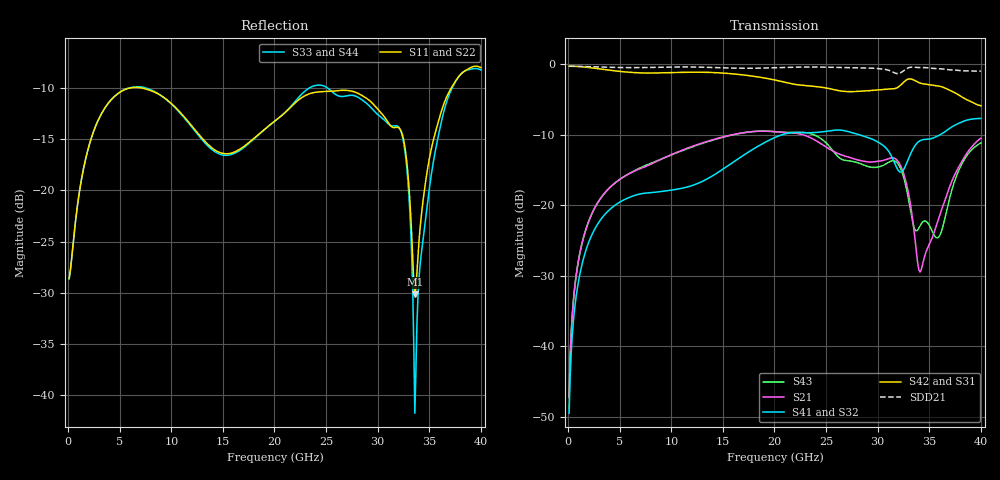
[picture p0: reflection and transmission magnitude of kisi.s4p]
! P_ts6_finger_diff: gold-finger pair 0.7 × 2.1 mm, pitch 1 mm, between GND fingers (gap 0.3 mm), every plane cut back
! stackup: ThunderScope Rev5.3 6-layer (FR408HR / FR-4, from the board file)
! ports: 1 P near, 2 N near, 3 P far, 4 N far
! kisi-fdtd, conformal, dfine 0.035 mm, 1486968 cells
# Hz S RI R 50
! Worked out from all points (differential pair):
!   400 points, 100 MHz to 40 GHz, reference 50 ohm
!   strongest paths, dB at 100 MHz, 10.1 GHz, 20.1 GHz, 30.1 GHz, 40 GHz:
!     S42: -0.3, -1.2, -2.3, -3.7, -5.9
!     S31: -0.3, -1.2, -2.3, -3.7, -5.9
!     S41: -49.5, -17.9, -10.4, -11.1, -7.7
!     S32: -49.5, -17.9, -10.4, -11.1, -7.7
!     S21: -47.2, -12.8, -9.6, -13.8, -10.5
!     S43: -47.2, -12.8, -9.6, -14.6, -11.2
!   taken as a pair (ports 2,1 in; 4,3 out), SDD21 dB: -0.3, -0.4, -0.5, -0.7, -1.0
!   lowest |S11| = -30.1 dB at 33.6 GHz (marker M1), VSWR 1.06, Z = 47.6 + j1.83 ohm
!   |S11| at or under -10 dB: start of sweep to 5.898 GHz; 7.239 GHz to 37.12 GHz (29.88 GHz wide, 135 % of centre)
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1e8  -0.0359 0.00969  0.00179 0.00399  0.9635 -0.0307  0.00135 -0.00294
     0.00179 0.00399  -0.0359 0.00969  0.00135 -0.00294  0.9635 -0.0307
     0.9633 -0.0305  0.00148 -0.00301  -0.0356 0.00955  0.00165 0.00406
     0.00148 -0.00301  0.9633 -0.0305  0.00165 0.00406  -0.0356 0.00955
1.03e10  0.0132 -0.2575  -0.00489 -0.2326  -0.8597 -0.1262  0.0616 0.113
         -0.00489 -0.2326  0.0132 -0.2575  0.0616 0.113  -0.8597 -0.1262
         -0.8595 -0.1261  0.0613 0.1131  0.0103 -0.256  -0.0072 -0.231
         0.0613 0.1131  -0.8595 -0.1261  -0.0072 -0.231  0.0103 -0.256
2.02e10  0.0498 0.2161  -0.045 0.327  0.7261 0.2385  -0.0448 -0.301
         -0.045 0.327  0.0498 0.2161  -0.0448 -0.301  0.7261 0.2385
         0.7262 0.2383  -0.0438 -0.3016  0.0454 0.2171  -0.0485 0.3273
         -0.0438 -0.3016  0.7262 0.2383  -0.0485 0.3273  0.0454 0.2171
2.79e10  0.2937 -0.0689  0.1957 -0.0771  -0.12 -0.6269  -0.0744 0.3124
         0.1957 -0.0771  0.2937 -0.0689  -0.0744 0.3124  -0.12 -0.6269
         -0.1198 -0.6267  -0.077 0.3107  0.2808 -0.0677  0.1852 -0.0785
         -0.077 0.3107  -0.1198 -0.6267  0.1852 -0.0785  0.2808 -0.0677
3.25e10  0.0116 -0.178  -0.064 -0.1558  -0.7312 -0.1186  0.1299 0.1183
         -0.064 -0.1558  0.0116 -0.178  0.1299 0.1183  -0.7312 -0.1186
         -0.7311 -0.119  0.1284 0.1232  0.0289 -0.1704  -0.044 -0.1525
         0.1284 0.1232  -0.7311 -0.119  -0.044 -0.1525  0.0289 -0.1704
3.36e10  -0.0245 0.0192  -0.0414 -0.0419  -0.7242 0.2395  0.2145 0.1493
         -0.0414 -0.0419  -0.0245 0.0192  0.2145 0.1493  -0.7242 0.2395
         -0.7237 0.2394  0.2177 0.1466  0.00401 -0.00707  -0.0156 -0.0654
         0.2177 0.1466  -0.7237 0.2394  -0.0156 -0.0654  0.00401 -0.00707
4e10  0.1157 -0.3817  -0.1397 -0.2635  0.3124 0.3965  -0.0761 -0.3985
      -0.1397 -0.2635  0.1157 -0.3817  -0.0761 -0.3985  0.3124 0.3965
      0.3122 0.3981  -0.0719 -0.4045  0.1292 -0.3662  -0.1289 -0.2438
      -0.0719 -0.4045  0.3122 0.3981  -0.1289 -0.2438  0.1292 -0.3662
